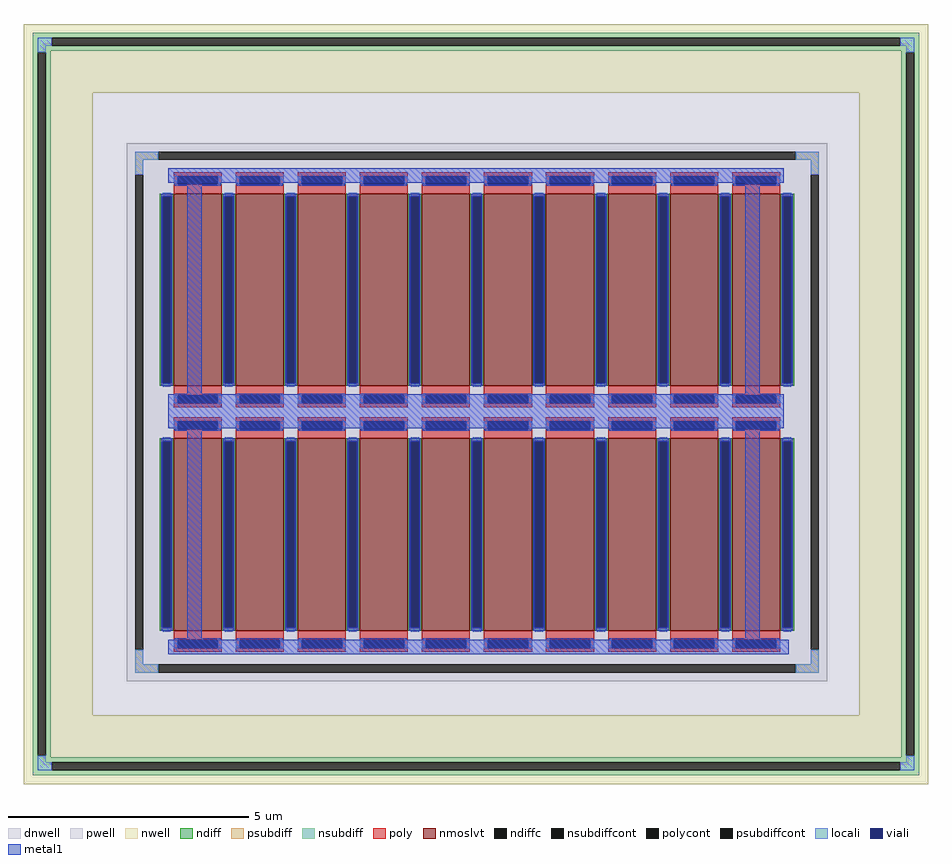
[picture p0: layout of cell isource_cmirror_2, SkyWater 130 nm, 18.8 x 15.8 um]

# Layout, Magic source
magic
tech sky130A
magscale 1 2
<< dnwell >>
rect -200 -400 3400 2600
<< nwell >>
rect -280 2394 3480 2680
rect -280 -194 6 2394
rect 3194 -194 3480 2394
rect -280 -480 3480 -194
<< nsubdiff >>
rect -243 2623 3443 2643
rect -243 2589 -163 2623
rect 3363 2589 3443 2623
rect -243 2569 3443 2589
rect -243 2563 -169 2569
rect -243 -363 -223 2563
rect -189 -363 -169 2563
rect -243 -369 -169 -363
rect 3369 2563 3443 2569
rect 3369 -363 3389 2563
rect 3423 -363 3443 2563
rect 3369 -369 3443 -363
rect -243 -389 3443 -369
rect -243 -423 -163 -389
rect 3363 -423 3443 -389
rect -243 -443 3443 -423
<< nsubdiffcont >>
rect -163 2589 3363 2623
rect -223 -363 -189 2563
rect 3389 -363 3423 2563
rect -163 -423 3363 -389
<< locali >>
rect -223 2589 -163 2623
rect 3363 2589 3423 2623
rect -223 2563 -189 2589
rect -223 -389 -189 -363
rect 3389 2563 3423 2589
rect 3389 -389 3423 -363
rect -223 -423 -163 -389
rect 3363 -423 3423 -389
<< metal1 >>
rect 320 2020 2880 2080
rect 400 1140 460 2020
rect 2720 1140 2780 2020
rect 320 1000 2880 1140
rect 400 120 460 1000
rect 2720 120 2780 1000
rect 320 60 2900 120
use sky130_fd_pr__nfet_01v8_lvt_ZZ3Y87  sky130_fd_pr__nfet_01v8_lvt_ZZ3Y87_0
transform 1 0 1604 0 1 1066
box -1457 -1119 1457 1119
<< end >>

# cell sky130_fd_pr__nfet_01v8_lvt_ZZ3Y87: kit device sky130_fd_pr__nfet_01v8_lvt, w 4 l 1 m 2 nf 10 diffcov 100 polycov 100 guard 1 glc 1 grc 1 gtc 1 gbc 1 tbcov 100 rlcov 100 topc 1 botc 1 poverlap 0 doverlap 1 lmin 0.15 wmin 0.42 compatible {sky130_fd_pr__nfet_01v8 sky130_fd_pr__nfet_01v8_lvt sky130_fd_bs_flash__special_sonosfet_star sky130_fd_pr__nfet_g5v0d10v5 sky130_fd_pr__nfet_05v0_nvt sky130_fd_pr__nfet_03v3_nvt} full_metal 1 viasrc 100 viadrn 100 viagate 100 viagb 0 viagr 0 viagl 0 viagt 0
